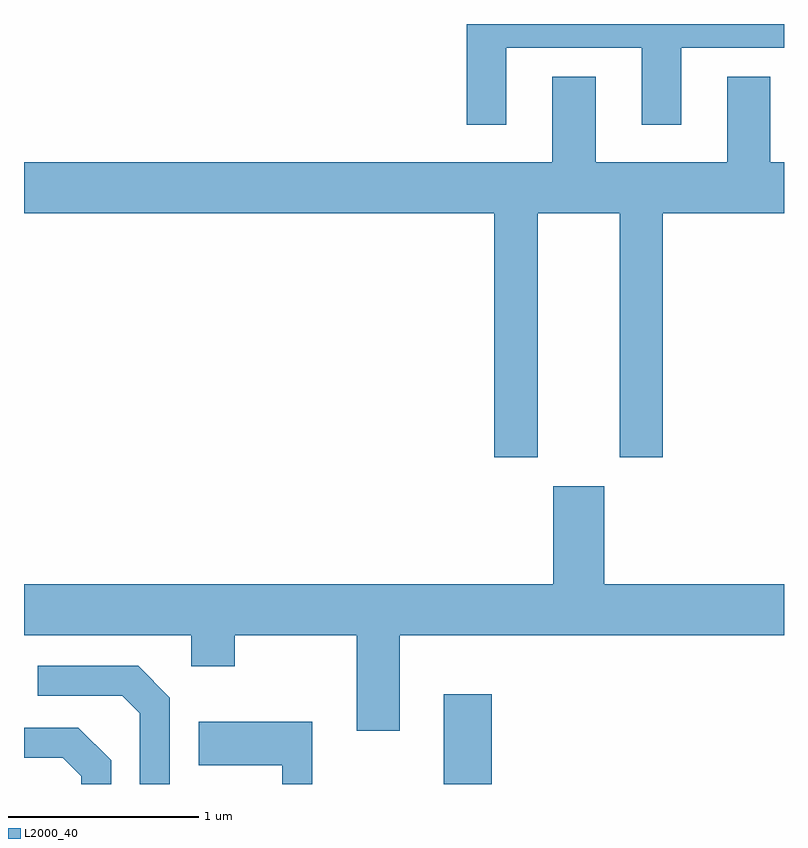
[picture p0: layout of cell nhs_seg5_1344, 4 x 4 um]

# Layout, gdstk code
import gdstk
lib = gdstk.Library(unit=1e-6, precision=1e-09)
def R(c, l, rs):  # rectangles x0, y0, x1, y1
    for r in rs: c.add(gdstk.rectangle(r[:2], r[2:], *l))
def P(c, l, *ps):  # polygons
    for p in ps: c.add(gdstk.Polygon(p, *l))
L2000_40 = (2000, 40)

nhs_seg5_1344 = lib.new_cell('nhs_seg5_1344')
R(nhs_seg5_1344, L2000_40, [(227.821,1396.072,228.074,1396.544)])
P(nhs_seg5_1344, L2000_40, [(228.149,1399.946),(228.861,1399.946),(228.861,1399.541),(229.069,1399.541),(229.069,1399.946),(229.611,1399.946),(229.611,1400.072),(227.941,1400.072),(227.941,1399.541),(228.149,1399.541)],
  [(228.314,1399.076),(228.746,1399.076),(228.746,1397.791),(228.974,1397.791),(228.974,1399.076),(229.611,1399.076),(229.611,1399.344),(229.539,1399.344),(229.539,1399.794),(229.311,1399.794),(229.311,1399.344),(228.619,1399.344),(228.619,1399.794),(228.391,1399.794),(228.391,1399.344),(225.611,1399.344),(225.611,1399.076),(228.086,1399.076),(228.086,1397.791),(228.314,1397.791)],
  [(227.589,1396.856),(229.611,1396.856),(229.611,1397.124),(228.664,1397.124),(228.664,1397.639),(228.396,1397.639),(228.396,1397.124),(225.611,1397.124),(225.611,1396.856),(226.491,1396.856),(226.491,1396.691),(226.719,1396.691),(226.719,1396.856),(227.361,1396.856),(227.361,1396.351),(227.589,1396.351)],
  [(226.379,1396.527),(226.212,1396.694),(225.683,1396.694),(225.683,1396.536),(226.129,1396.536),(226.221,1396.444),(226.221,1396.072),(226.379,1396.072)],
  [(227.129,1396.399),(226.531,1396.399),(226.531,1396.171),(226.971,1396.171),(226.971,1396.072),(227.129,1396.072)],
  [(226.069,1396.197),(225.897,1396.369),(225.611,1396.369),(225.611,1396.211),(225.814,1396.211),(225.911,1396.114),(225.911,1396.072),(226.069,1396.072)])

lib.write_gds('nhs_seg5_1344.gds')
